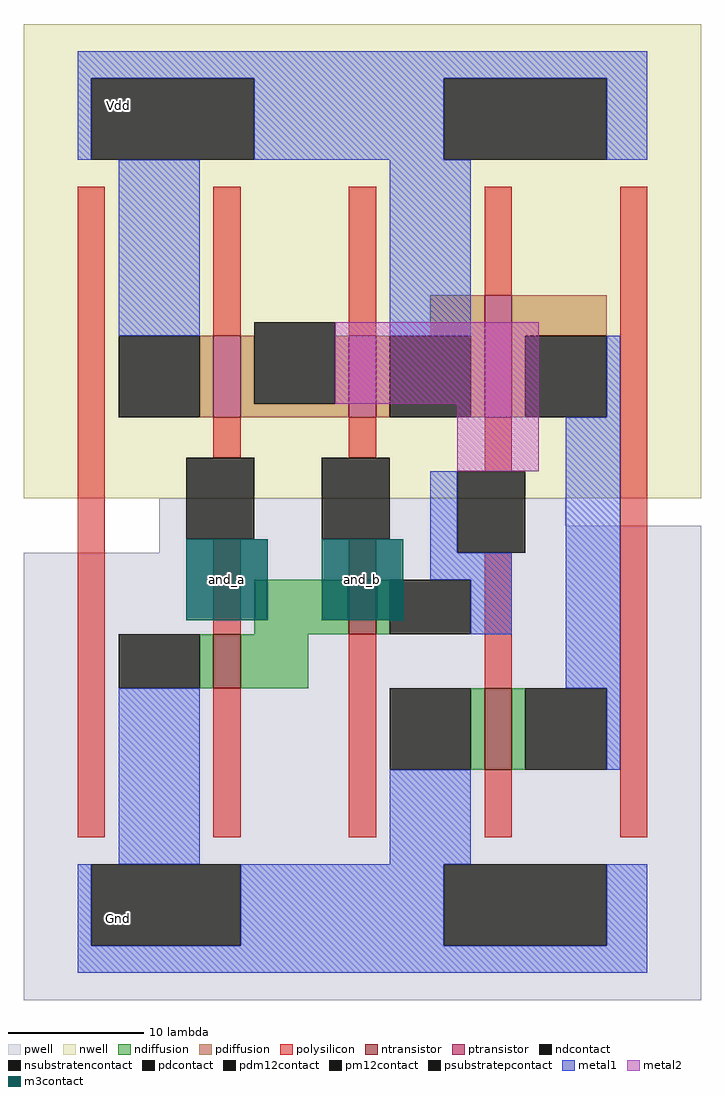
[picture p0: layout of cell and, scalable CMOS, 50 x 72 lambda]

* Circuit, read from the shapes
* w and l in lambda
.subckt and Gnd Vdd and_a and_b
M1 n1 and_a Gnd Gnd nfet w=4 l=2
M2 n2 and_b n1 Gnd nfet w=4 l=2
M3 n3 n2 Gnd Gnd nfet w=6 l=2
M4 n2 and_a Vdd Vdd pfet w=6 l=2
M5 Vdd and_b n2 Vdd pfet w=6 l=2
M6 n3 n2 Vdd Vdd pfet w=9 l=2
.ends

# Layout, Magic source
magic
tech scmos
<< nwell >>
rect -4 39 46 74
<< pwell >>
rect 6 37 36 39
rect 6 35 46 37
rect -4 2 46 35
<< ntransistor >>
rect 20 29 22 33
rect 10 25 12 29
rect 30 19 32 25
<< ptransistor >>
rect 10 45 12 51
rect 20 45 22 51
rect 30 45 32 54
<< ndiffusion >>
rect 13 29 20 33
rect 22 29 23 33
rect 9 25 10 29
rect 12 25 17 29
rect 29 19 30 25
rect 32 19 33 25
<< pdiffusion >>
rect 9 45 10 51
rect 12 46 13 51
rect 26 51 30 54
rect 19 46 20 51
rect 12 45 20 46
rect 22 45 23 51
rect 29 45 30 51
rect 32 51 39 54
rect 32 45 33 51
<< ndcontact >>
rect 23 29 29 33
rect 3 25 9 29
rect 23 19 29 25
rect 33 19 39 25
<< pdcontact >>
rect 3 45 9 51
rect 23 45 29 51
rect 33 45 39 51
<< psubstratepcontact >>
rect 1 6 12 12
rect 27 6 39 12
<< nsubstratencontact >>
rect 1 64 13 70
rect 27 64 39 70
<< polysilicon >>
rect 0 14 2 62
rect 10 51 12 62
rect 20 51 22 62
rect 30 54 32 62
rect 10 42 12 45
rect 20 42 22 45
rect 30 41 32 45
rect 10 29 12 36
rect 20 33 22 36
rect 10 14 12 25
rect 20 14 22 29
rect 30 25 32 35
rect 30 14 32 19
rect 40 14 42 62
<< metal1 >>
rect 0 70 42 72
rect 0 64 1 70
rect 13 64 27 70
rect 39 64 42 70
rect 3 51 9 64
rect 23 51 29 64
rect 39 45 40 51
rect 26 35 28 41
rect 26 33 32 35
rect 29 29 32 33
rect 36 25 40 45
rect 3 12 9 25
rect 39 19 40 25
rect 23 12 29 19
rect 0 6 1 12
rect 12 6 27 12
rect 39 6 42 12
rect 0 4 42 6
<< pm12contact >>
rect 8 36 13 42
rect 18 36 23 42
rect 28 35 33 41
<< pdm12contact >>
rect 13 46 19 52
<< metal2 >>
rect 19 46 34 52
rect 28 41 34 46
<< m3contact >>
rect 8 30 14 36
rect 18 30 24 36
<< labels >>
rlabel nsubstratencontact 3 68 3 68 4 Vdd
rlabel psubstratepcontact 3 8 3 8 2 Gnd
rlabel m3contact 11 33 11 33 1 and_a
rlabel m3contact 21 33 21 33 1 and_b
<< end >>
